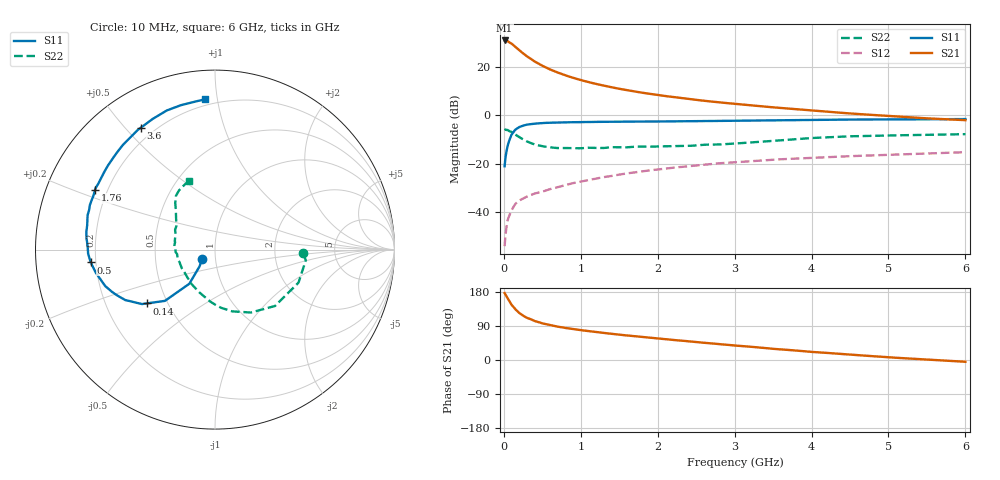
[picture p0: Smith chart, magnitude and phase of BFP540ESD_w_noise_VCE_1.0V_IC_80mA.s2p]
! Infineon Technologies  Discrete & RF Semiconductors
! BFP540ESD
! VCE =  1.0 V,  IC =  80 mA
! Common Emitter S-Parameters:  Nov 2015
# GHz  S  MA  R  50
!  f  S11  S21  S12  S22
! GHz  MAG  ANG  MAG  ANG  MAG  ANG  MAG  ANG
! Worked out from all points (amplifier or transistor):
!   210 points, 10 MHz to 6 GHz, reference 50 ohm
!   highest |S21| = 30.9 dB at 10 MHz (marker M1)
!   |S21| within 3 dB of that: start of sweep to 163.4 MHz
!   unconditionally stable (mu >= 1): start of sweep to 100.4 MHz; 496.1 MHz to end of sweep
!   at 185 MHz: K = 0.81, MSG = 31.4 dB, |S12| = -35.5 dB
!   at 1.52 GHz: K = 1.25, MAG = 14.6 dB, |S12| = -24.3 dB
!   at 6 GHz: K = 1.29, MAG = 3.4 dB, |S12| = -15.2 dB
!   lowest NFmin = 2.38 dB at 900 MHz
!   S11 on the Smith chart (normalised r, x): 10 MHz: 0.86, -0.09; 140 MHz: 0.38, -0.30; 500 MHz: 0.18, -0.05; 1.76 GHz: 0.15, +0.23; 3.6 GHz: 0.15, +0.55; 6 GHz: 0.16, +0.92
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0.01  0.0889 -143.0  35.18 176.8  0.002 54.2  0.4934 -2.5
0.02  0.1287 -132.5  34.95 173.3  0.0032 69.7  0.5093 -6.8
0.05  0.2376 -126.9  34.02 162.2  0.0069 68.8  0.5003 -21.6
0.1  0.399 -134.3  30.33 145.9  0.0109 60.1  0.4588 -43.2
0.14  0.4851 -141.8  26.74 136.3  0.0141 56.9  0.4115 -56.5
0.15  0.5076 -143.3  25.98 133.5  0.0149 56.3  0.4036 -60.3
0.2  0.5741 -150.7  22.19 124.1  0.0175 54.1  0.3567 -74.6
0.24  0.6067 -155.6  19.64 118.5  0.0189 53.0  0.3272 -83.5
0.3  0.6444 -161.6  16.56 111.3  0.0211 52.5  0.2903 -95.4
0.4  0.6755 -168.8  12.95 102.9  0.0244 51.4  0.2522 -111.0
0.5  0.6961 -174.1  10.58 96.7  0.0266 53.6  0.2321 -124.3
0.7  0.7106 178.0  7.663 88.0  0.033 55.3  0.212 -142.4
0.8  0.719 174.9  6.69 84.6  0.0363 55.7  0.2123 -149.7
1.02  0.7258 168.8  5.252 78.3  0.0438 56.5  0.2106 -161.8
1.4  0.7402 160.4  3.804 69.1  0.0562 55.7  0.2206 -176.5
1.76  0.7469 153.5  3.005 61.5  0.0686 54.0  0.227 174.2
2.02  0.7485 148.5  2.604 56.3  0.077 52.1  0.229 167.9
3.1  0.7788 129.6  1.675 36.8  0.1108 41.6  0.2688 143.6
3.6  0.7949 121.4  1.423 28.1  0.1243 36.4  0.3059 135.5
4.1  0.8083 114.3  1.227 20.1  0.1351 31.2  0.3467 129.5
5.1  0.8272 102.2  0.951 5.9  0.1554 21.8  0.3879 120.3
6  0.8395 93.7  0.797 -4.7  0.1741 14.7  0.41 110.9
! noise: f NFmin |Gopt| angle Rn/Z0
0.9  2.38  0.59  -140  0.21
1.8  2.6  0.62  -141  0.22
2.4  2.71  0.63  -130  0.32
3  2.93  0.66  -121  0.48
4  3.08  0.73  -101  0.98
5  3.38  0.79  -86  1.55
6  4.1  0.72  -81  2.55
